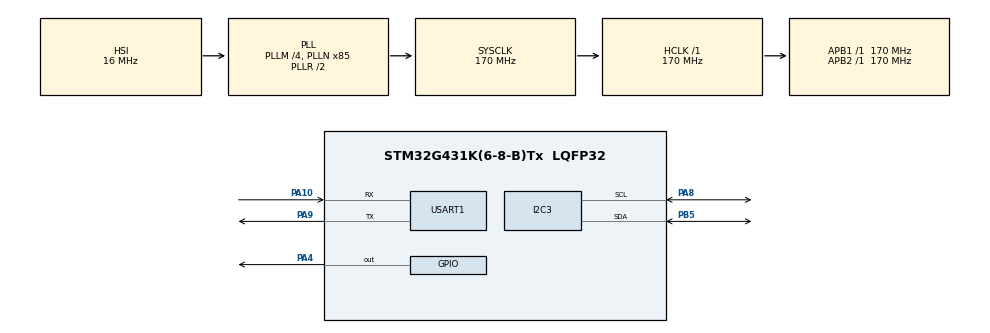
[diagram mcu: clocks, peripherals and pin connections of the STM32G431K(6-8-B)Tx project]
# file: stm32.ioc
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I2C3.Timing=0x40B285C2
Mcu.Family=STM32G4
Mcu.Name=STM32G431K(6-8-B)Tx
Mcu.Package=LQFP32
NUCLEO-G431KB.LD2=true
NUCLEO-G431KB.VCP=true
NVIC.PriorityGroup=NVIC_PRIORITYGROUP_4
NVIC.TIM2_IRQn=true\:0\:0\:false\:false\:true\:true\:true\:true
PA10.Mode=Asynchronous
PA10.Signal=USART1_RX
PA13.GPIO_Label=T_SWDIO
PA13.Signal=SYS_JTMS-SWDIO
PA14.GPIO_Label=T_SWCLK
PA14.Signal=SYS_JTCK-SWCLK
PA2.Signal=USART2_TX
PA3.Signal=USART2_RX
PA4.Signal=GPIO_Output
PA8.Mode=I2C
PA8.Signal=I2C3_SCL
PA9.Mode=Asynchronous
PA9.Signal=USART1_TX
PB3.GPIO_Label=T_SWO
PB3.Signal=SYS_JTDO-SWO
PB5.Mode=I2C
PB5.Signal=I2C3_SDA
ProjectManager.HeapSize=0x200
ProjectManager.StackSize=0x400
ProjectManager.TargetToolchain=CMake
RCC.ADC12Freq_Value=170000000
RCC.AHBFreq_Value=170000000
RCC.APB1Freq_Value=170000000
RCC.APB1TimFreq_Value=170000000
RCC.APB2Freq_Value=170000000
RCC.APB2TimFreq_Value=170000000
RCC.CortexFreq_Value=170000000
RCC.EXTERNAL_CLOCK_VALUE=12288000
RCC.HCLKFreq_Value=170000000
RCC.HSE_VALUE=8000000
RCC.HSI48_VALUE=48000000
RCC.HSI_VALUE=16000000
RCC.LSE_VALUE=32768
RCC.PLLM=RCC_PLLM_DIV4
RCC.PLLN=85
RCC.SYSCLKFreq_VALUE=170000000
RCC.SYSCLKSource=RCC_SYSCLKSOURCE_PLLCLK
RCC.USBFreq_Value=170000000
RCC.VCOOutputFreq_Value=340000000
TIM2.PeriodNoDither=2266666
USART1.VirtualMode-Asynchronous=VM_ASYNC
VP_NUCLEO-G431KB_VS_BSP_COMMON.Mode=COMMON
VP_SYS_VS_DBSignals.Mode=DisableDeadBatterySignals
VP_TIM2_VS_ClockSourceINT.Mode=Internal
board=NUCLEO-G431KB

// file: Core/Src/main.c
/* USER CODE BEGIN Header */
/**
  ******************************************************************************
  * @file           : main.c
  * @brief          : Main program body
  ******************************************************************************
  * @attention
  *
  * Copyright (c) 2026 STMicroelectronics.
  * All rights reserved.
  *
  * This software is licensed under terms that can be found in the LICENSE file
  * in the root directory of this software component.
  * If no LICENSE file comes with this software, it is provided AS-IS.
  *
  ******************************************************************************
  */
/* USER CODE END Header */
#include "main.h"

/* USER CODE BEGIN Includes */
#include "pca9685.h"
#include "stm32g431xx.h"
#include "stm32g4xx_hal.h"
#include "stm32g4xx_hal_tim.h"
#include <stdbool.h>
/* USER CODE END Includes */

COM_InitTypeDef BspCOMInit;

I2C_HandleTypeDef hi2c3;

TIM_HandleTypeDef htim2;

UART_HandleTypeDef huart1;

/* USER CODE BEGIN PV */

bool triggerMotorUpdate = false;

/* USER CODE END PV */

void SystemClock_Config(void);
static void MX_GPIO_Init(void);
static void MX_USART1_UART_Init(void);
static void MX_I2C3_Init(void);
static void MX_TIM2_Init(void);

/* USER CODE BEGIN 0 */
  uint16_t on[16] = {0, 0, 0, 0, 0, 0, 0, 0, 0, 0, 0, 0, 0, 0, 0, 0};
  uint16_t off[16] = {500, 500, 500, 500, 500, 500, 500, 500, 500, 500, 500, 500, 500, 500, 500, 500};
  bool forwards = true;
  uint16_t speed = 5;

  uint16_t run_cycles = 0;
/* USER CODE END 0 */

int main(void)
{

  /* MCU Configuration--------------------------------------------------------*/

  /* Reset of all peripherals, Initializes the Flash interface and the Systick. */
  HAL_Init();

  /* Configure the system clock */
  SystemClock_Config();

  /* Initialize all configured peripherals */
  MX_GPIO_Init();
  MX_USART1_UART_Init();
  MX_I2C3_Init();
  MX_TIM2_Init();
  /* USER CODE BEGIN 2 */

  HAL_TIM_Base_Start_IT(&htim2);

  pca9685_setup(&hi2c3);

  /* USER CODE END 2 */

  /* Initialize leds */
  BSP_LED_Init(LED_GREEN);

  /* Initialize COM1 port (115200, 8 bits (7-bit data + 1 stop bit), no parity */
  BspCOMInit.BaudRate   = 115200;
  BspCOMInit.WordLength = COM_WORDLENGTH_8B;
  BspCOMInit.StopBits   = COM_STOPBITS_1;
  BspCOMInit.Parity     = COM_PARITY_NONE;
  BspCOMInit.HwFlowCtl  = COM_HWCONTROL_NONE;
  if (BSP_COM_Init(COM1, &BspCOMInit) != BSP_ERROR_NONE)
  {
    Error_Handler();
  }

  /* Infinite loop */
  while (1)
  {

  }
}

void SystemClock_Config(void)
{
  RCC_OscInitTypeDef RCC_OscInitStruct = {0};
  RCC_ClkInitTypeDef RCC_ClkInitStruct = {0};

  /** Configure the main internal regulator output voltage
  */
  HAL_PWREx_ControlVoltageScaling(PWR_REGULATOR_VOLTAGE_SCALE1_BOOST);

  /** Initializes the RCC Oscillators according to the specified parameters
  * in the RCC_OscInitTypeDef structure.
  */
  RCC_OscInitStruct.OscillatorType = RCC_OSCILLATORTYPE_HSI;
  RCC_OscInitStruct.HSIState = RCC_HSI_ON;
  RCC_OscInitStruct.HSICalibrationValue = RCC_HSICALIBRATION_DEFAULT;
  RCC_OscInitStruct.PLL.PLLState = RCC_PLL_ON;
  RCC_OscInitStruct.PLL.PLLSource = RCC_PLLSOURCE_HSI;
  RCC_OscInitStruct.PLL.PLLM = RCC_PLLM_DIV4;
  RCC_OscInitStruct.PLL.PLLN = 85;
  RCC_OscInitStruct.PLL.PLLP = RCC_PLLP_DIV2;
  RCC_OscInitStruct.PLL.PLLQ = RCC_PLLQ_DIV2;
  RCC_OscInitStruct.PLL.PLLR = RCC_PLLR_DIV2;
  if (HAL_RCC_OscConfig(&RCC_OscInitStruct) != HAL_OK)
  {
    Error_Handler();
  }

  /** Initializes the CPU, AHB and APB buses clocks
  */
  RCC_ClkInitStruct.ClockType = RCC_CLOCKTYPE_HCLK|RCC_CLOCKTYPE_SYSCLK
                              |RCC_CLOCKTYPE_PCLK1|RCC_CLOCKTYPE_PCLK2;
  RCC_ClkInitStruct.SYSCLKSource = RCC_SYSCLKSOURCE_PLLCLK;
  RCC_ClkInitStruct.AHBCLKDivider = RCC_SYSCLK_DIV1;
  RCC_ClkInitStruct.APB1CLKDivider = RCC_HCLK_DIV1;
  RCC_ClkInitStruct.APB2CLKDivider = RCC_HCLK_DIV1;

  if (HAL_RCC_ClockConfig(&RCC_ClkInitStruct, FLASH_LATENCY_4) != HAL_OK)
  {
    Error_Handler();
  }
}

static void MX_I2C3_Init(void)
{

  hi2c3.Instance = I2C3;
  hi2c3.Init.Timing = 0x40B285C2;
  hi2c3.Init.OwnAddress1 = 0;
  hi2c3.Init.AddressingMode = I2C_ADDRESSINGMODE_7BIT;
  hi2c3.Init.DualAddressMode = I2C_DUALADDRESS_DISABLE;
  hi2c3.Init.OwnAddress2 = 0;
  hi2c3.Init.OwnAddress2Masks = I2C_OA2_NOMASK;
  hi2c3.Init.GeneralCallMode = I2C_GENERALCALL_DISABLE;
  hi2c3.Init.NoStretchMode = I2C_NOSTRETCH_DISABLE;
  if (HAL_I2C_Init(&hi2c3) != HAL_OK)
  {
    Error_Handler();
  }

  /** Configure Analogue filter
  */
  if (HAL_I2CEx_ConfigAnalogFilter(&hi2c3, I2C_ANALOGFILTER_ENABLE) != HAL_OK)
  {
    Error_Handler();
  }

  /** Configure Digital filter
  */
  if (HAL_I2CEx_ConfigDigitalFilter(&hi2c3, 0) != HAL_OK)
  {
    Error_Handler();
  }

}

static void MX_TIM2_Init(void)
{

  TIM_ClockConfigTypeDef sClockSourceConfig = {0};
  TIM_MasterConfigTypeDef sMasterConfig = {0};

  htim2.Instance = TIM2;
  htim2.Init.Prescaler = 0;
  htim2.Init.CounterMode = TIM_COUNTERMODE_UP;
  htim2.Init.Period = 1699999;
  htim2.Init.ClockDivision = TIM_CLOCKDIVISION_DIV1;
  htim2.Init.AutoReloadPreload = TIM_AUTORELOAD_PRELOAD_DISABLE;
  if (HAL_TIM_Base_Init(&htim2) != HAL_OK)
  {
    Error_Handler();
  }
  sClockSourceConfig.ClockSource = TIM_CLOCKSOURCE_INTERNAL;
  if (HAL_TIM_ConfigClockSource(&htim2, &sClockSourceConfig) != HAL_OK)
  {
    Error_Handler();
  }
  sMasterConfig.MasterOutputTrigger = TIM_TRGO_RESET;
  sMasterConfig.MasterSlaveMode = TIM_MASTERSLAVEMODE_DISABLE;
  if (HAL_TIMEx_MasterConfigSynchronization(&htim2, &sMasterConfig) != HAL_OK)
  {
    Error_Handler();
  }

}

static void MX_USART1_UART_Init(void)
{

  huart1.Instance = USART1;
  huart1.Init.BaudRate = 115200;
  huart1.Init.WordLength = UART_WORDLENGTH_8B;
  huart1.Init.StopBits = UART_STOPBITS_1;
  huart1.Init.Parity = UART_PARITY_NONE;
  huart1.Init.Mode = UART_MODE_TX_RX;
  huart1.Init.HwFlowCtl = UART_HWCONTROL_NONE;
  huart1.Init.OverSampling = UART_OVERSAMPLING_16;
  huart1.Init.OneBitSampling = UART_ONE_BIT_SAMPLE_DISABLE;
  huart1.Init.ClockPrescaler = UART_PRESCALER_DIV1;
  huart1.AdvancedInit.AdvFeatureInit = UART_ADVFEATURE_NO_INIT;
  if (HAL_UART_Init(&huart1) != HAL_OK)
  {
    Error_Handler();
  }
  if (HAL_UARTEx_SetTxFifoThreshold(&huart1, UART_TXFIFO_THRESHOLD_1_8) != HAL_OK)
  {
    Error_Handler();
  }
  if (HAL_UARTEx_SetRxFifoThreshold(&huart1, UART_RXFIFO_THRESHOLD_1_8) != HAL_OK)
  {
    Error_Handler();
  }
  if (HAL_UARTEx_DisableFifoMode(&huart1) != HAL_OK)
  {
    Error_Handler();
  }

}

static void MX_GPIO_Init(void)
{
  GPIO_InitTypeDef GPIO_InitStruct = {0};

  /* GPIO Ports Clock Enable */
  __HAL_RCC_GPIOA_CLK_ENABLE();
  __HAL_RCC_GPIOB_CLK_ENABLE();

  /*Configure GPIO pin Output Level */
  HAL_GPIO_WritePin(GPIOA, GPIO_PIN_4, GPIO_PIN_RESET);

  /*Configure GPIO pin : PA4 */
  GPIO_InitStruct.Pin = GPIO_PIN_4;
  GPIO_InitStruct.Mode = GPIO_MODE_OUTPUT_PP;
  GPIO_InitStruct.Pull = GPIO_NOPULL;
  GPIO_InitStruct.Speed = GPIO_SPEED_FREQ_LOW;
  HAL_GPIO_Init(GPIOA, &GPIO_InitStruct);

}

/* USER CODE BEGIN 4 */
void HAL_TIM_PeriodElapsedCallback(TIM_HandleTypeDef *htim) {
  if (htim->Instance == TIM2) {
    if(run_cycles < 2400) {
      // while(!triggerMotorUpdate) {}
      if(forwards) off[0] += 40;
      else off[0] -= 40;

      if(off[0] == 2500 || off[0] == 500){
        forwards = !forwards;
        // if(forwards) speed += 5;
      }

      set_channel_ticks(off, on);

      run_cycles += 1;

      // triggerMotorUpdate = false;
    }
    // triggerMotorUpdate = true;
  }
}
/* USER CODE END 4 */

/* USER CODE BEGIN Header */
/**
  ******************************************************************************
  * @file           : main.c
  * @brief          : Main program body
  ******************************************************************************
  * @attention
  *
  * Copyright (c) 2026 STMicroelectronics.
  * All rights reserved.
  *
  * This software is licensed under terms that can be found in the LICENSE file
  * in the root directory of this software component.
  * If no LICENSE file comes with this software, it is provided AS-IS.
  *
  ******************************************************************************
  */
/* USER CODE END Header */

void Error_Handler(void)
{
  __disable_irq();
  while (1)
  {
  }
}
